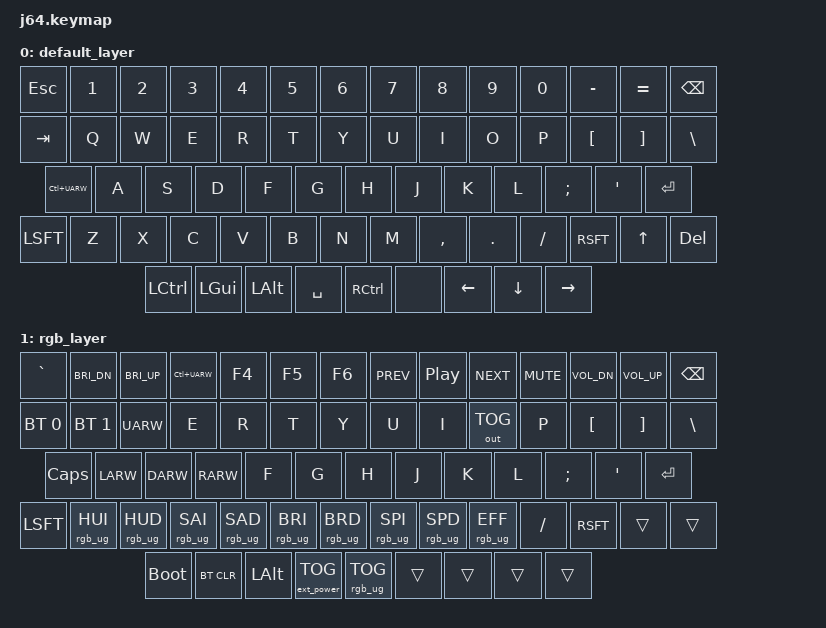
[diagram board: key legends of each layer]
#include <behaviors.dtsi>
#include <dt-bindings/zmk/keys.h>
#include <dt-bindings/zmk/rgb.h>
#include <dt-bindings/zmk/bt.h>
#include <dt-bindings/zmk/outputs.h>
#include <dt-bindings/zmk/ext_power.h>

/ {
	keymap {
		compatible = "zmk,keymap";
		
		default_layer {
// ------------------------------------------------------------------------------------------
// | ESC |  1  |  2  |  3  |  4  |  5  |  6  |  7  |  8  |  9  |  0  |  -  |  =  |   BKSP   |
// | TAB  |  Q  |  W  |  E  |  R  |  T  |  Y  |  U  |  I  |  O  |  P  |  [  |  ]  |   "|"   |
// | CAPS  |  A  |  S  |  D  |  F  |  G  |  H  |  J  |  K  |  L  |  ;  |  '  |     ENTER    |
// |  SHIFT  |  Z  |  X  |  C  |  V  |  B  |  N  |  M  |  ,  |  .  |  /  |      SHIFT       |
// |  CTL  |  WIN  |  ALT  |            SPACE              |  ALT  |  WIN  |  MO(1) |  CTL  |
// ------------------------------------------------------------------------------------------
			bindings = <
	&kp ESC &kp NUM_1 &kp NUM_2 &kp NUM_3 &kp NUM_4 &kp NUM_5 &kp NUM_6 &kp NUM_7 &kp NUM_8 &kp NUM_9 &kp NUM_0 &kp MINUS &kp EQL  &kp BKSP
	&kp TAB  &kp   Q   &kp   W   &kp   E   &kp   R   &kp   T   &kp   Y   &kp   U   &kp   I   &kp   O   &kp   P   &kp LBKT &kp RBKT &kp BSLH
	&kp LC(UARW)  &kp   A   &kp   S   &kp   D   &kp   F   &kp   G   &kp   H   &kp   J   &kp   K   &kp   L   &kp  SCLN  &kp  QUOT        &kp RET
	&kp LSFT   &kp   Z   &kp   X   &kp   C   &kp   V   &kp   B   &kp   N   &kp   M   &kp   CMMA   &kp   DOT   &kp   FSLH  &kp RSFT &kp UP &kp DEL
	&kp LCTL &kp   LGUI   &kp LALT                     &kp SPC                         &kp   RCTL    &none     &kp LEFT  &kp DOWN &kp RIGHT
			>;
		};

		rgb_layer {
// ------------------------------------------------------------------------------------------
// | ESC |  1  |  2  |  3  |  4  |  5  |  6  |  7  |  8  |  9  |  0  |  -  |  =  |   BKSP   |
// | TAB  |  Q  |  W  |  E  |  R  |  T  |  Y  |  U  |  I  |  O  |  P  |  [  |  ]  |   "|"   |
// | CAPS  |  A  |  S  |  D  |  F  |  G  |  H  |  J  |  K  |  L  |  ;  |  '  |     ENTER    |
// |  SHIFT  |  Z  |  X  |  C  |  V  |  B  |  N  |  M  |  ,  |  .  |  /  |      SHIFT       |
// |  CTL  |  WIN  |  ALT  |            SPACE              |  ALT  |  WIN  |  MENU  |  CTL  |
// ------------------------------------------------------------------------------------------
			bindings = <
	&kp GRAV &kp C_BRI_DN &kp C_BRI_UP &kp LC(UARW) &kp F4 &kp F5 &kp F6 &kp C_PREV &kp C_PP &kp C_NEXT &kp C_MUTE &kp C_VOL_DN &kp C_VOL_UP  &kp BKSP
	&bt BT_SEL 0  &bt   BT_SEL 1   &kp UARW  &kp   E   &kp R &kp T &kp Y &kp U &kp   I   &out OUT_TOG   &kp   P   &kp LBKT &kp RBKT &kp BSLH 
	&kp  CLCK &kp LARW  &kp DARW  &kp RARW &kp F &kp G &kp  H &kp J &kp K  &kp L  &kp  SCLN  &kp QUOT &kp RET
	&kp LSFT   &rgb_ug RGB_HUI    &rgb_ug RGB_HUD   &rgb_ug RGB_SAI   &rgb_ug RGB_SAD   &rgb_ug RGB_BRI   &rgb_ug RGB_BRD   &rgb_ug RGB_SPI   &rgb_ug RGB_SPD  &rgb_ug RGB_EFF   &kp   FSLH  &kp RSFT &trans &trans
	&bootloader &bt BT_CLR   &kp LALT               &ext_power EP_TOG                 &rgb_ug RGB_TOG    &trans    &trans  &trans &trans
			>;
		};
	};
};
